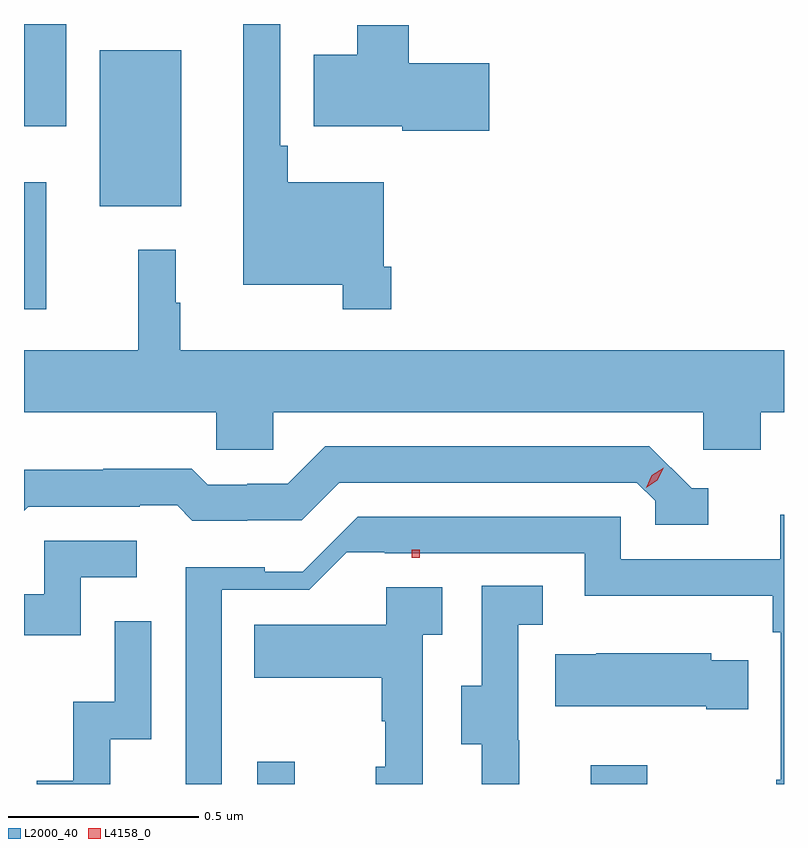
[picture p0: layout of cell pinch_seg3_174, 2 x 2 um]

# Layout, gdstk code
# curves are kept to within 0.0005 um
import gdstk
lib = gdstk.Library(unit=1e-6, precision=1e-09)
def R(c, l, rs):  # rectangles x0, y0, x1, y1
    for r in rs: c.add(gdstk.rectangle(r[:2], r[2:], *l))
def P(c, l, *ps):  # polygons
    for p in ps: c.add(gdstk.Polygon(p, *l))
L2000_40 = (2000, 40)
L4158_0 = (4158, 0)

pinch_seg3_174 = lib.new_cell('pinch_seg3_174')
R(pinch_seg3_174, L2000_40, [(1128.807,713.258,1128.905,713.317), (1129.685,713.258,1129.833,713.308), (1128.193,714.507,1128.252,714.841), (1128.392,714.779,1128.607,715.189), (1128.193,714.989,1128.304,715.258)])
P(pinch_seg3_174, L2000_40, [(1129.16,714.619),(1129.14,714.619),(1129.14,714.841),(1128.887,714.841),(1128.887,714.937),(1128.867,714.937),(1128.867,715.258),(1128.77,715.258),(1128.77,714.572),(1129.032,714.572),(1129.032,714.507),(1129.16,714.507)],
  [(1129.417,715.155),(1129.205,715.155),(1129.205,715.255),(1129.07,715.255),(1129.07,715.177),(1128.956,715.177),(1128.956,714.989),(1129.188,714.989),(1129.188,714.977),(1129.417,714.977)],
  [(1128.849,714.236),(1129.98,714.236),(1129.98,714.138),(1130.132,714.138),(1130.132,714.236),(1130.193,714.236),(1130.193,714.4),(1128.604,714.4),(1128.604,714.524),(1128.592,714.524),(1128.592,714.664),(1128.493,714.664),(1128.493,714.4),(1128.193,714.4),(1128.193,714.236),(1128.699,714.236),(1128.699,714.138),(1128.849,714.138)],
  [(1129.993,714.036),(1129.95,714.036),(1129.839,714.147),(1128.986,714.147),(1128.887,714.048),(1128.78,714.048),(1128.78,714.045),(1128.677,714.045),(1128.635,714.088),(1128.402,714.088),(1128.402,714.085),(1128.193,714.085),(1128.193,713.977),(1128.204,713.988),(1128.497,713.988),(1128.497,713.991),(1128.596,713.991),(1128.636,713.951),(1128.924,713.952),(1129.023,714.051),(1129.806,714.051),(1129.854,714.003),(1129.854,713.94),(1129.993,713.94)],
  [(1128.714,713.769),(1128.943,713.769),(1129.042,713.868),(1129.142,713.868),(1129.142,713.865),(1129.668,713.865),(1129.668,713.753),(1130.164,713.753),(1130.164,713.657),(1130.184,713.657),(1130.184,713.269),(1130.172,713.269),(1130.172,713.258),(1130.193,713.258),(1130.193,713.966),(1130.183,713.966),(1130.183,713.85),(1129.764,713.85),(1129.764,713.961),(1129.071,713.961),(1128.926,713.816),(1128.826,713.816),(1128.826,713.828),(1128.618,713.828),(1128.618,713.258),(1128.714,713.258)],
  [(1128.342,713.802),(1128.49,713.802),(1128.49,713.898),(1128.246,713.898),(1128.246,713.757),(1128.193,713.757),(1128.193,713.649),(1128.342,713.649)],
  [(1129.496,713.373),(1129.494,713.373),(1129.494,713.677),(1129.558,713.677),(1129.558,713.78),(1129.398,713.78),(1129.398,713.517),(1129.343,713.517),(1129.343,713.362),(1129.397,713.362),(1129.397,713.258),(1129.496,713.258)],
  [(1129.242,713.651),(1129.294,713.651),(1129.294,713.776),(1129.146,713.776),(1129.146,713.677),(1128.799,713.677),(1128.799,713.537),(1129.134,713.537),(1129.134,713.423),(1129.144,713.423),(1129.144,713.304),(1129.118,713.304),(1129.118,713.258),(1129.242,713.258)],
  [(1128.42,713.376),(1128.528,713.376),(1128.528,713.686),(1128.432,713.686),(1128.432,713.474),(1128.323,713.474),(1128.323,713.266),(1128.227,713.266),(1128.227,713.258),(1128.42,713.258)],
  [(1130.099,713.584),(1130.001,713.584),(1130.001,713.602),(1129.699,713.602),(1129.699,713.599),(1129.591,713.599),(1129.591,713.462),(1129.988,713.462),(1129.988,713.455),(1130.099,713.455)])
R(pinch_seg3_174, L4158_0, [(1129.214,713.854,1129.234,713.874)])
P(pinch_seg3_174, L4158_0, [(1129.83,714.037),(1129.83,714.037),(1129.845,714.07),(1129.876,714.09),(1129.876,714.09),(1129.876,714.09),(1129.86,714.057),(1129.83,714.037)])

lib.write_gds('pinch_seg3_174.gds')
